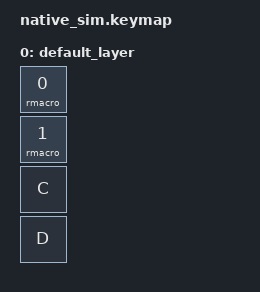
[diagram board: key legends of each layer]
#include <dt-bindings/zmk/keys.h>
#include <behaviors.dtsi>
#include <behaviors/runtime_macro.dtsi>
#include <dt-bindings/zmk/kscan_mock.h>

/ {
	runtime_macro_defaults {
		rmacro_default_0 {
			compatible = "cormoran,runtime-macro-default";
			macro-name = "Hi";
			text = "hi";
		};

		rmacro_default_1 {
			compatible = "cormoran,runtime-macro-default";
			macro-name = "Bindings";
			bindings = <&macro_press &kp LSHFT>
				 , <&macro_tap &kp A>
				 , <&macro_release &kp LSHFT>
				 , <&macro_wait_time 5>
				 , <&macro_tap &kp B>;
		};

		/* Encodes to well over CONFIG_ZMK_RUNTIME_MACRO_MAX_BYTES (256 by
		 * default, see tests/dt-defaults/native_sim.conf): install_one_default's
		 * own fixed-size encode buffer runs out of room mid-encode. This must be
		 * skipped with a clear log at boot, without crashing and without
		 * preventing the other defaults (already declared above) from
		 * installing. */
		rmacro_default_2 {
			compatible = "cormoran,runtime-macro-default";
			macro-name = "Oversized";
			text = "aaaaaaaaaaaaaaaaaaaaaaaaaaaaaaaaaaaaaaaaaaaaaaaaaaaaaaaaaaaaaaaaaaaaaaaaaaaaaaaaaaaaaaaaaaaaaaaaaaaaaaaaaaaaaaaaaaaaaaaaaaaaaaaaaaaaaaaaaaaaaaaaaaaaaaaaaaaaaaaaaaaaaaaaaaaaaaaaaaaaaaaaaaaaaaaaaaaaaaaaaaaaaaaaaaaaaaaaaaaaaaaaaaaaaaaaaaaaaaaaaaaaaaaaaaaaaaaaaaaaaaaaaaaaaaaaaaaaaaaaaaaaaaaaaaaaaa";
		};

		/* 70 packable characters: more than one KEY_TAP_SEQUENCE step holds
		 * (64), so the encoder must continue in a second step. It needs
		 * CONFIG_ZMK_RUNTIME_MACRO_QUEUE_SIZE above 64 (see native_sim.conf). */
		rmacro_default_3 {
			compatible = "cormoran,runtime-macro-default";
			macro-name = "Long";
			text = "abcdefghijklmnopqrstuvwxyzabcdefghijklmnopqrstuvwxyzabcdefghijklmnopqr";
		};
	};

	keymap {
		compatible = "zmk,keymap";

		default_layer {
			bindings = <
			&rmacro 0
			&rmacro 1
			&kp C
			&kp D
			>;
		};
	};
};

&kscan {
	events = <
	ZMK_MOCK_PRESS(0,0,10)
	ZMK_MOCK_RELEASE(0,0,10)
	ZMK_MOCK_PRESS(0,1,10)
	ZMK_MOCK_RELEASE(0,1,10)
	>;
};
